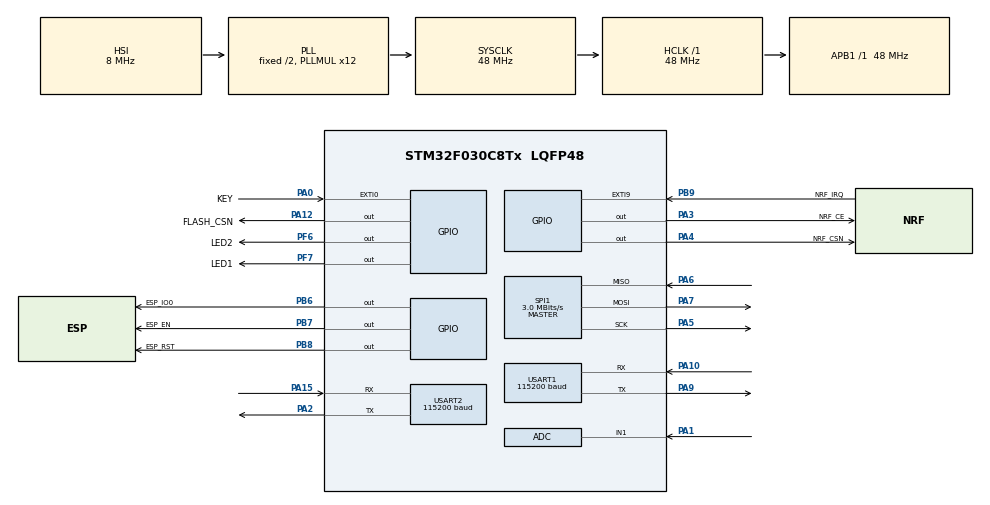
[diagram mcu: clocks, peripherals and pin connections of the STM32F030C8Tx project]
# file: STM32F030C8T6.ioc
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Dma.Request0=USART1_RX
Dma.Request1=USART1_TX
Dma.Request2=USART2_RX
Dma.USART1_RX.0.Direction=DMA_PERIPH_TO_MEMORY
Dma.USART1_RX.0.Instance=DMA1_Channel3
Dma.USART1_RX.0.MemDataAlignment=DMA_MDATAALIGN_BYTE
Dma.USART1_RX.0.MemInc=DMA_MINC_ENABLE
Dma.USART1_RX.0.Mode=DMA_CIRCULAR
Dma.USART1_RX.0.PeriphDataAlignment=DMA_PDATAALIGN_BYTE
Dma.USART1_RX.0.PeriphInc=DMA_PINC_DISABLE
Dma.USART1_RX.0.Priority=DMA_PRIORITY_LOW
Dma.USART1_TX.1.Direction=DMA_MEMORY_TO_PERIPH
Dma.USART1_TX.1.Instance=DMA1_Channel2
Dma.USART1_TX.1.MemDataAlignment=DMA_MDATAALIGN_BYTE
Dma.USART1_TX.1.MemInc=DMA_MINC_ENABLE
Dma.USART1_TX.1.Mode=DMA_NORMAL
Dma.USART1_TX.1.PeriphDataAlignment=DMA_PDATAALIGN_BYTE
Dma.USART1_TX.1.PeriphInc=DMA_PINC_DISABLE
Dma.USART1_TX.1.Priority=DMA_PRIORITY_LOW
Dma.USART2_RX.2.Direction=DMA_PERIPH_TO_MEMORY
Dma.USART2_RX.2.Instance=DMA1_Channel5
Dma.USART2_RX.2.MemDataAlignment=DMA_MDATAALIGN_BYTE
Dma.USART2_RX.2.MemInc=DMA_MINC_ENABLE
Dma.USART2_RX.2.Mode=DMA_NORMAL
Dma.USART2_RX.2.PeriphDataAlignment=DMA_PDATAALIGN_BYTE
Dma.USART2_RX.2.PeriphInc=DMA_PINC_DISABLE
Dma.USART2_RX.2.Priority=DMA_PRIORITY_LOW
FREERTOS.Tasks01=defaultTask,0,128,StartDefaultTask,Default,NULL,Dynamic,NULL,NULL
FREERTOS.configMINIMAL_STACK_SIZE=64
FREERTOS.configTOTAL_HEAP_SIZE=4516
Mcu.Family=STM32F0
Mcu.Name=STM32F030C8Tx
Mcu.Package=LQFP48
NVIC.DMA1_Channel2_3_IRQn=true\:3\:0\:false\:false\:true\:true\:false\:true\:true
NVIC.DMA1_Channel4_5_IRQn=true\:3\:0\:false\:false\:true\:true\:false\:true\:true
NVIC.EXTI0_1_IRQn=true\:3\:0\:false\:false\:true\:true\:true\:true\:true
NVIC.EXTI4_15_IRQn=true\:3\:0\:false\:false\:true\:true\:true\:true\:true
NVIC.TIM17_IRQn=true\:3\:0\:false\:false\:true\:false\:false\:true\:true
NVIC.TIM3_IRQn=true\:3\:0\:false\:false\:true\:true\:true\:true\:true
NVIC.TimeBase=TIM17_IRQn
NVIC.TimeBaseIP=TIM17
NVIC.USART1_IRQn=true\:3\:0\:false\:false\:true\:true\:true\:true\:true
NVIC.USART2_IRQn=true\:3\:0\:false\:false\:true\:true\:true\:true\:true
PA0.GPIO_Label=KEY
PA0.GPIO_ModeDefaultEXTI=GPIO_MODE_IT_FALLING
PA0.GPIO_PuPd=GPIO_PULLUP
PA0.Signal=GPXTI0
PA1.Mode=IN1
PA1.Signal=ADC_IN1
PA10.Mode=Asynchronous
PA10.Signal=USART1_RX
PA12.GPIO_Label=FLASH_CSN
PA12.GPIO_PuPd=GPIO_PULLUP
PA12.Signal=GPIO_Output
PA13.Mode=Serial_Wire
PA13.Signal=SYS_SWDIO
PA14.Mode=Serial_Wire
PA14.Signal=SYS_SWCLK
PA15.Mode=Asynchronous
PA15.Signal=USART2_RX
PA2.Mode=Asynchronous
PA2.Signal=USART2_TX
PA3.GPIO_Label=NRF_CE
PA3.Signal=GPIO_Output
PA4.GPIO_Label=NRF_CSN
PA4.GPIO_PuPd=GPIO_PULLDOWN
PA4.Signal=GPIO_Output
PA5.Mode=Full_Duplex_Master
PA5.Signal=SPI1_SCK
PA6.Mode=Full_Duplex_Master
PA6.Signal=SPI1_MISO
PA7.Mode=Full_Duplex_Master
PA7.Signal=SPI1_MOSI
PA9.Mode=Asynchronous
PA9.Signal=USART1_TX
PB6.GPIO_Label=ESP_IO0
PB6.Signal=GPIO_Output
PB7.GPIO_Label=ESP_EN
PB7.Signal=GPIO_Output
PB8.GPIO_Label=ESP_RST
PB8.Signal=GPIO_Output
PB9.GPIO_Label=NRF_IRQ
PB9.GPIO_ModeDefaultEXTI=GPIO_MODE_IT_FALLING
PB9.GPIO_PuPd=GPIO_PULLUP
PB9.Signal=GPXTI9
PF6.GPIO_Label=LED2
PF6.Signal=GPIO_Output
PF7.GPIO_Label=LED1
PF7.Signal=GPIO_Output
ProjectManager.HeapSize=0x200
ProjectManager.StackSize=0x400
ProjectManager.TargetToolchain=MDK-ARM V5.32
RCC.AHBFreq_Value=48000000
RCC.APB1Freq_Value=48000000
RCC.APB1TimFreq_Value=48000000
RCC.HCLKFreq_Value=48000000
RCC.PLLMUL=RCC_PLL_MUL12
RCC.SYSCLKFreq_VALUE=48000000
RCC.SYSCLKSource=RCC_SYSCLKSOURCE_PLLCLK
SPI1.BaudRatePrescaler=SPI_BAUDRATEPRESCALER_16
SPI1.CalculateBaudRate=3.0 MBits/s
SPI1.DataSize=SPI_DATASIZE_8BIT
SPI1.Direction=SPI_DIRECTION_2LINES
SPI1.Mode=SPI_MODE_MASTER
SPI1.VirtualType=VM_MASTER
TIM3.Period=48000
TIM3.Prescaler=500-1
TIM6.Period=0
TIM6.Prescaler=48-1
USART1.BaudRate=115200
USART1.VirtualMode-Asynchronous=VM_ASYNC
USART2.BaudRate=115200
USART2.VirtualMode-Asynchronous=VM_ASYNC
VP_FREERTOS_VS_CMSIS_V1.Mode=CMSIS_V1
VP_IWDG_VS_IWDG.Mode=IWDG_Activate
VP_SYS_VS_tim17.Mode=TIM17
VP_TIM3_VS_ClockSourceINT.Mode=Internal
VP_TIM6_VS_ClockSourceINT.Mode=Enable_Timer
board=custom

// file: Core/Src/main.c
/* USER CODE BEGIN Header */
/**
  ******************************************************************************
  * @file           : main.c
  * @brief          : Main program body
  ******************************************************************************
  * @attention
  *
  * Copyright (c) 2023 STMicroelectronics.
  * All rights reserved.
  *
  * This software is licensed under terms that can be found in the LICENSE file
  * in the root directory of this software component.
  * If no LICENSE file comes with this software, it is provided AS-IS.
  *
  ******************************************************************************
  */
/* USER CODE END Header */
#include "main.h"
#include "cmsis_os.h"
#include "adc.h"
#include "dma.h"
#include "iwdg.h"
#include "spi.h"
#include "tim.h"
#include "usart.h"
#include "gpio.h"

/* USER CODE BEGIN Includes */
#include "../common.h"
/* USER CODE END Includes */

void SystemClock_Config(void);
void MX_FREERTOS_Init(void);

int main(void)
{

  /* MCU Configuration--------------------------------------------------------*/

  /* Reset of all peripherals, Initializes the Flash interface and the Systick. */
  HAL_Init();

  /* Configure the system clock */
  SystemClock_Config();

  /* Initialize all configured peripherals */
  MX_DMA_Init();
  MX_ADC_Init();
  //MX_IWDG_Init();
  MX_SPI1_Init();
	#ifndef WIFIDEBUG
  MX_USART1_UART_Init();
	#endif
  MX_USART2_UART_Init();
  MX_TIM3_Init();
  MX_TIM6_Init();
  MX_GPIO_Init();
  /* USER CODE BEGIN 2 */
	if ( init_str.restore ) {
		LED_NRF_ON();
		LED_CON_ON();
		restore_factory_setting();
		for ( ;; ) {
			if ( HAL_GPIO_ReadPin( KEY_GPIO_Port, KEY_Pin ) == GPIO_PIN_SET ) break;
		}
		__disable_irq();//关中断
		NVIC_SystemReset();//复位
	}

  /* USER CODE END 2 */

  /* Call init function for freertos objects (in freertos.c) */
  MX_FREERTOS_Init();

  /* Start scheduler */
  osKernelStart();

  /* We should never get here as control is now taken by the scheduler */
  /* Infinite loop */
  while (1)
  {

  }
}

void SystemClock_Config(void)
{
  RCC_OscInitTypeDef RCC_OscInitStruct = {0};
  RCC_ClkInitTypeDef RCC_ClkInitStruct = {0};
  RCC_PeriphCLKInitTypeDef PeriphClkInit = {0};

  /** Initializes the RCC Oscillators according to the specified parameters
  * in the RCC_OscInitTypeDef structure.
  */
  RCC_OscInitStruct.OscillatorType = RCC_OSCILLATORTYPE_HSI|RCC_OSCILLATORTYPE_HSI14
                              |RCC_OSCILLATORTYPE_LSI;
  RCC_OscInitStruct.HSIState = RCC_HSI_ON;
  RCC_OscInitStruct.HSI14State = RCC_HSI14_ON;
  RCC_OscInitStruct.HSICalibrationValue = RCC_HSICALIBRATION_DEFAULT;
  RCC_OscInitStruct.HSI14CalibrationValue = 16;
  RCC_OscInitStruct.LSIState = RCC_LSI_ON;
  RCC_OscInitStruct.PLL.PLLState = RCC_PLL_ON;
  RCC_OscInitStruct.PLL.PLLSource = RCC_PLLSOURCE_HSI;
  RCC_OscInitStruct.PLL.PLLMUL = RCC_PLL_MUL12;
  RCC_OscInitStruct.PLL.PREDIV = RCC_PREDIV_DIV1;
  if (HAL_RCC_OscConfig(&RCC_OscInitStruct) != HAL_OK)
  {
    Error_Handler();
  }

  /** Initializes the CPU, AHB and APB buses clocks
  */
  RCC_ClkInitStruct.ClockType = RCC_CLOCKTYPE_HCLK|RCC_CLOCKTYPE_SYSCLK
                              |RCC_CLOCKTYPE_PCLK1;
  RCC_ClkInitStruct.SYSCLKSource = RCC_SYSCLKSOURCE_PLLCLK;
  RCC_ClkInitStruct.AHBCLKDivider = RCC_SYSCLK_DIV1;
  RCC_ClkInitStruct.APB1CLKDivider = RCC_HCLK_DIV1;

  if (HAL_RCC_ClockConfig(&RCC_ClkInitStruct, FLASH_LATENCY_1) != HAL_OK)
  {
    Error_Handler();
  }
  PeriphClkInit.PeriphClockSelection = RCC_PERIPHCLK_USART1;
  PeriphClkInit.Usart1ClockSelection = RCC_USART1CLKSOURCE_PCLK1;
  if (HAL_RCCEx_PeriphCLKConfig(&PeriphClkInit) != HAL_OK)
  {
    Error_Handler();
  }
}

void HAL_TIM_PeriodElapsedCallback(TIM_HandleTypeDef *htim)
{
  if (htim->Instance == TIM17) {
    HAL_IncTick();
  }
  /* USER CODE BEGIN Callback 1 */
	if (htim->Instance == TIM3) {
		led_tim_callback();
		send_mqtt_heart_isr();
		tim_clear_nrfreg_isr();
  }
  /* USER CODE END Callback 1 */
}

void Error_Handler(void)
{
  __disable_irq();
  while (1)
  {
  }
}

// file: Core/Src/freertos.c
/* USER CODE BEGIN Header */
/**
  ******************************************************************************
  * File Name          : freertos.c
  * Description        : Code for freertos applications
  ******************************************************************************
  * @attention
  *
  * Copyright (c) 2023 STMicroelectronics.
  * All rights reserved.
  *
  * This software is licensed under terms that can be found in the LICENSE file
  * in the root directory of this software component.
  * If no LICENSE file comes with this software, it is provided AS-IS.
  *
  ******************************************************************************
  */
/* USER CODE END Header */

#include "FreeRTOS.h"
#include "task.h"
#include "main.h"
#include "cmsis_os.h"

/* USER CODE BEGIN Includes */
#include "../common.h"
/* USER CODE END Includes */

/* USER CODE BEGIN Variables */
TaskHandle_t wifi_control_taskHandle;
TaskHandle_t nrf_control_taskHandle;
TaskHandle_t wifi_send_taskHandle;

QueueHandle_t wifi_send_cache_handle;
QueueHandle_t wifi_receive_cache_handle;
QueueHandle_t wifi_using_lock_handle;
/* USER CODE END Variables */
osThreadId defaultTaskHandle;

/* USER CODE BEGIN FunctionPrototypes */
void debugTaskFun(void const * argument);
void wifi_control_task_fun(void const * argument);
void wifi_send_task_fun(void const * argument);
void nrf_control_task_fun(void const * argument);
/* USER CODE END FunctionPrototypes */

void StartDefaultTask(void const * argument);

void MX_FREERTOS_Init(void); /* (MISRA C 2004 rule 8.1) */

/* GetIdleTaskMemory prototype (linked to static allocation support) */
void vApplicationGetIdleTaskMemory( StaticTask_t **ppxIdleTaskTCBBuffer, StackType_t **ppxIdleTaskStackBuffer, uint32_t *pulIdleTaskStackSize );

/* USER CODE BEGIN GET_IDLE_TASK_MEMORY */
static StaticTask_t xIdleTaskTCBBuffer;
static StackType_t xIdleStack[configMINIMAL_STACK_SIZE];

void vApplicationGetIdleTaskMemory( StaticTask_t **ppxIdleTaskTCBBuffer, StackType_t **ppxIdleTaskStackBuffer, uint32_t *pulIdleTaskStackSize )
{
  *ppxIdleTaskTCBBuffer = &xIdleTaskTCBBuffer;
  *ppxIdleTaskStackBuffer = &xIdleStack[0];
  *pulIdleTaskStackSize = configMINIMAL_STACK_SIZE;
  /* place for user code */
}
/* USER CODE END GET_IDLE_TASK_MEMORY */

void MX_FREERTOS_Init(void) {

  /* USER CODE BEGIN RTOS_QUEUES */
  /* add queues, ... */
	wifi_send_cache_handle = xSemaphoreCreateCounting( 2, 2 );
	wifi_receive_cache_handle = xSemaphoreCreateCounting( 2, 2 );
	wifi_using_lock_handle = xSemaphoreCreateMutex();
	xSemaphoreGive(wifi_using_lock_handle);
  /* USER CODE END RTOS_QUEUES */

  /* Create the thread(s) */
  /* definition and creation of defaultTask */
  osThreadDef(defaultTask, StartDefaultTask, osPriorityNormal, 0, 128);
  defaultTaskHandle = osThreadCreate(osThread(defaultTask), NULL);

  /* USER CODE BEGIN RTOS_THREADS */
  /* add threads, ... */
	osThreadDef(wifi_control_task, wifi_control_task_fun, osPriorityAboveNormal, 0, wifi_control_taskSize);
  wifi_control_taskHandle = osThreadCreate(osThread(wifi_control_task), NULL);

	osThreadDef(nrf_control_task, nrf_control_task_fun, osPriorityNormal, 0, nrf_control_taskSize);
  nrf_control_taskHandle = osThreadCreate(osThread(nrf_control_task), NULL);

	osThreadDef(wifi_send_task, wifi_send_task_fun, osPriorityNormal, 0, wifi_send_taskSize);
  wifi_send_taskHandle = osThreadCreate(osThread(wifi_send_task), NULL);

  /* USER CODE END RTOS_THREADS */

}

void StartDefaultTask(void const * argument)
{
  /* USER CODE BEGIN StartDefaultTask */
  /* Infinite loop */

  for(;;)
  {

		//xTaskNotify( wifi_control_taskHandle, 1U<<WIFI_DEVICE_RESET, eSetBits );

#ifdef WIFIDEBUG
		//复位ESP
		HAL_GPIO_WritePin( ESP_EN_GPIO_Port, ESP_EN_Pin, GPIO_PIN_SET );
		HAL_GPIO_WritePin( ESP_IO0_GPIO_Port, ESP_IO0_Pin, GPIO_PIN_RESET );
		HAL_GPIO_WritePin( ESP_RST_GPIO_Port, ESP_RST_Pin, GPIO_PIN_RESET );
		vTaskDelay( 500 );
		HAL_GPIO_WritePin( ESP_RST_GPIO_Port, ESP_RST_Pin, GPIO_PIN_SET );
		vTaskDelay( 2000 );
#else
		read_data_from_w25qFlash();
		getSnByDeviceId_setClientId();
		led_init();
		HAL_TIM_Base_Start_IT( &htim3 );
		HAL_TIM_Base_Start( &htim3 );
		led_nrf_flicker_on();
		led_con_flicker_on();
		xTaskNotify( wifi_control_taskHandle, 1U<<WIFI_DEVICE_RESET, eSetBits );
		vTaskDelay(1200);
		xTaskNotify( wifi_control_taskHandle, 1U<<WIFI_STATION_MODE_INIT, eSetBits );
		//xTaskNotify( nrf_control_taskHandle, 1U<<NRF_INIT_EVENT, eSetBits );
#endif
		printf("init ok\r\n");
		vTaskDelete( defaultTaskHandle );
  }

  /* USER CODE END StartDefaultTask */
}

/* USER CODE BEGIN Application */

/*--------------- WIFI ----------------*/
void wifi_control_task_fun(void const * argument) {
	uint32_t newBits, oldBits = 0;
  for(;;) {
		xTaskNotifyWait( pdFALSE, portMAX_DELAY, &newBits, portMAX_DELAY );
		oldBits |= newBits;

		if ( oldBits & (1U<<WIFI_DEVICE_RESET) ) {
			oldBits &=~ (1U<<WIFI_DEVICE_RESET);
			wifi_reset();
		}
		if ( oldBits & (1U<<WIFI_UART_IDLE_CALLBACK) ) {
			oldBits &=~ (1U<<WIFI_UART_IDLE_CALLBACK);
			wifi_uart_idle_callback();
		}
		if ( oldBits & (1U<<WIFI_STATION_MODE_INIT) ) {
			oldBits &=~ (1U<<WIFI_STATION_MODE_INIT);
			station_mode_init();
		}
		if ( oldBits & (1U<<WIFI_STA_AP_MODE_INIT) ) {
			oldBits &=~ (1U<<WIFI_STA_AP_MODE_INIT);
			station_and_ap_init();
		}
		if ( oldBits & (1U<<PARSE_JSON_DATA) ) {
			oldBits &=~ (1U<<PARSE_JSON_DATA);
			parse_wifi_data_fun();
		}
		if ( oldBits & (1U<<CREATE_TASK) ) {
			oldBits &=~ (1U<<CREATE_TASK);
			if ( nrf_control_taskHandle == NULL ) {
				osThreadDef(nrf_control_task, nrf_control_task_fun, osPriorityNormal, 0, nrf_control_taskSize);
				nrf_control_taskHandle = osThreadCreate(osThread(nrf_control_task), NULL);
			}
			if ( wifi_send_taskHandle == NULL ) {
				osThreadDef(wifi_send_task, wifi_send_task_fun, osPriorityNormal, 0, wifi_send_taskSize);
				wifi_send_taskHandle = osThreadCreate(osThread(wifi_send_task), NULL);
			}
			//初始化NRF
			xTaskNotify( nrf_control_taskHandle, 1U<<NRF_INIT_EVENT, eSetBits );
		}
  }
}

void wifi_send_task_fun(void const * argument) {
	uint32_t newBits, oldBits = 0;
  for(;;) {
		xTaskNotifyWait( pdFALSE, portMAX_DELAY, &newBits, portMAX_DELAY );
		oldBits |= newBits;
		if ( oldBits & (1U<<WIFI_SEND_HEART) ) {
			oldBits &=~ (1U<<WIFI_SEND_HEART);
			send_mqtt_heart();
		}
		if ( oldBits & (1U<<WIFI_SEND_MQTT) ) {
			oldBits &=~ (1U<<WIFI_SEND_MQTT);
			wifi_send_mqtt();
		}
		/*if ( oldBits & (1U<<SEND_TASK_DELETE) ) {
			oldBits &=~ (1U<<SEND_TASK_DELETE);
			wifi_send_mqtt();
			vTaskDelete( wifi_send_taskHandle );
			wifi_send_taskHandle = NULL;
		}*/
		//printf("\r\n------ 总大�? / 历史�?小内�? start ------\r\n");
		//portENTER_CRITICAL();
//		printf("\r\n------ start ------\r\n");
//		if ( wifi_control_taskHandle != NULL ) printf("%d / %ld   wifi_control_taskHandle\r\n", wifi_control_taskSize, uxTaskGetStackHighWaterMark(wifi_control_taskHandle) );
//		if ( nrf_control_taskHandle != NULL ) printf("%d / %ld   nrf_control_taskHandle\r\n", nrf_control_taskSize, uxTaskGetStackHighWaterMark(nrf_control_taskHandle) );
//		if ( wifi_send_taskHandle != NULL ) printf("%d / %ld   wifi_send_taskHandle\r\n", wifi_send_taskSize, uxTaskGetStackHighWaterMark(wifi_send_taskHandle) );
//		printf("内存剩余�?%d Byte 历史�?小内存剩余：%d Byte\r\n", xPortGetFreeHeapSize(), xPortGetMinimumEverFreeHeapSize());
//		printf("\r\n------ end ------\r\n");
		//portEXIT_CRITICAL();
		//printf("------ 单个任务堆栈的历史最小内�? end ------\r\n");
  }
}
/*--------------- WIFI ----------------*/

/*--------------- NRF24 ----------------*/
void nrf_control_task_fun(void const * argument) {
	uint32_t newBits, oldBits = 0;
  for(;;) {
		xTaskNotifyWait( pdFALSE, portMAX_DELAY, &newBits, portMAX_DELAY );
		oldBits |= newBits;
		if ( oldBits & (1U<<NRF_INIT_EVENT) ) {
			oldBits &=~ (1U<<NRF_INIT_EVENT);
			nrf_init();
		}
		if ( oldBits & (1U<<NRF_RX_EVENT) ) {
			oldBits &=~ (1U<<NRF_RX_EVENT);
		  nrf_receive_data();
		}
		if ( oldBits & (1U<<TIM_CLEAR_NRFREG) ) {
			oldBits &=~ (1U<<TIM_CLEAR_NRFREG);
			tim_clear_nrfreg();
		}
		/*if ( oldBits & (1U<<NRF_TASK_DELETE) ) {
			oldBits &=~ (1U<<NRF_TASK_DELETE);
			vTaskDelete( nrf_control_taskHandle );
			nrf_control_taskHandle = NULL;
		}*/

		// if ( oldBits & (1U<<NRF_TX_EVENT) ) {
		// 	oldBits &=~ (1U<<NRF_TX_EVENT);
		// 	nrf_send_data();
		// }

//		printf("\r\n------ 总大�? / 历史�?小内�? start ------\r\n");
//		if ( wifi_control_taskHandle != NULL ) printf("%d / %ld   wifi_control_taskHandle\r\n", wifi_control_taskSize, uxTaskGetStackHighWaterMark(wifi_control_taskHandle) );
//		if ( nrf_control_taskHandle != NULL ) printf("%d / %ld   nrf_control_taskHandle\r\n", nrf_control_taskSize, uxTaskGetStackHighWaterMark(nrf_control_taskHandle) );
//		if ( wifi_send_taskHandle != NULL ) printf("%d / %ld   wifi_send_taskHandle\r\n", wifi_send_taskSize, uxTaskGetStackHighWaterMark(wifi_send_taskHandle) );
//		printf("内存剩余�?%d Byte 历史�?小内存剩余：%d Byte\r\n", xPortGetFreeHeapSize(), xPortGetMinimumEverFreeHeapSize());
//		printf("------ 单个任务堆栈的历史最小内�? end ------\r\n");
//		if ( oldBits & (1U<<KEY_PRESS) ) {
//			oldBits &=~ (1U<<KEY_PRESS);
//			key_press_fun();
//		}

  }
}
/*--------------- NRF24 ----------------*/

/* USER CODE END Application */
